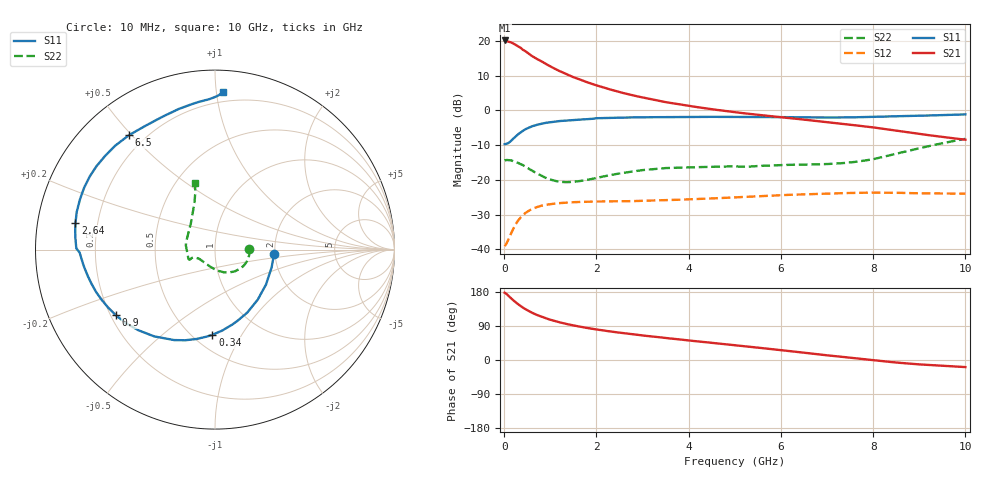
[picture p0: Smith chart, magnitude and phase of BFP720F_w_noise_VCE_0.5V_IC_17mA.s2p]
! Infineon Technologies  Discrete & RF Semiconductors
! BFP720F
! VCE =  0.5 V,  IC =  17 mA
! Common Emitter S-Parameters:  Jan 2016
# GHz  S  MA  R  50
!  f  S11  S21  S12  S22
! GHz  MAG  ANG  MAG  ANG  MAG  ANG  MAG  ANG
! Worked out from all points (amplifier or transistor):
!   233 points, 10 MHz to 10 GHz, reference 50 ohm
!   highest |S21| = 20.2 dB at 10 MHz (marker M1)
!   |S21| within 3 dB of that: start of sweep to 451.7 MHz
!   unconditionally stable (mu >= 1): start of sweep to end of sweep
!   at 200 MHz: K = 2.29, MAG = 20.3 dB, |S12| = -34.0 dB
!   at 1.74 GHz: K = 1.76, MAG = 12.3 dB, |S12| = -26.3 dB
!   at 10 GHz: K = 4.35, MAG = -1.6 dB, |S12| = -24.0 dB
!   lowest NFmin = 0.77 dB at 450 MHz
!   S11 on the Smith chart (normalised r, x): 10 MHz: 1.97, -0.10; 340 MHz: 0.62, -0.76; 900 MHz: 0.22, -0.29; 2.64 GHz: 0.12, +0.09; 6.5 GHz: 0.14, +0.49; 10 GHz: 0.14, +1.04
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0.01  0.3272 -3.9  10.18 177.7  0.0111 5.6  0.1901 1.6
0.05  0.3307 -17.6  9.969 174.5  0.0122 17.1  0.1938 -6.5
0.1  0.3444 -34.4  9.791 168.7  0.0141 28.9  0.1927 -11.8
0.2  0.3946 -63.0  9.227 157.3  0.0199 38.5  0.1866 -24.5
0.26  0.428 -76.8  8.716 151.3  0.0236 39.8  0.1808 -31.7
0.34  0.4751 -91.8  8.122 143.9  0.0279 39.0  0.1706 -40.7
0.4  0.5079 -101.5  7.527 138.8  0.0308 37.6  0.1641 -47.9
0.45  0.5313 -108.1  7.224 135.1  0.0329 36.1  0.1562 -53.1
0.6  0.5903 -125.0  6.098 124.9  0.038 31.6  0.1365 -68.2
0.7  0.6193 -133.4  5.561 119.3  0.0404 28.8  0.1255 -76.3
0.9  0.6624 -146.5  4.688 110.1  0.0437 24.1  0.1071 -93.4
1.08  0.6881 -155.4  4.048 103.4  0.0455 20.8  0.0978 -107.7
1.24  0.7066 -161.9  3.594 98.3  0.0466 18.5  0.0936 -119.6
1.68  0.7411 -174.5  2.726 87.2  0.0482 14.1  0.097 -143.5
2.2  0.7801 175.8  2.093 77.0  0.049 11.4  0.1139 -156.3
2.64  0.7913 169.2  1.743 69.9  0.0493 10.2  0.1281 -159.7
3.4  0.8013 160.6  1.36 59.5  0.0508 9.7  0.146 -158.9
5.1  0.8063 143.7  0.927 37.7  0.0563 8.1  0.1554 -165.1
6.5  0.7976 126.9  0.738 19.1  0.0621 4.0  0.1664 165.0
6.8  0.7922 122.5  0.701 15.2  0.063 2.8  0.1676 159.8
8.4  0.8216 98.7  0.524 -5.5  0.0653 -4.6  0.2291 123.5
10  0.877 87.2  0.379 -18.7  0.0633 -7.7  0.3899 106.7
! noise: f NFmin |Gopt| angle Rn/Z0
0.45  0.77  0.21  1  0.52
0.9  0.79  0.11  0  0.14
1.8  0.82  0.08  -6  0.16
2.4  0.83  0.08  -13  0.14
5.5  0.98  0.08  -18  0.1
10  1.15  0.35  -83  0.22
